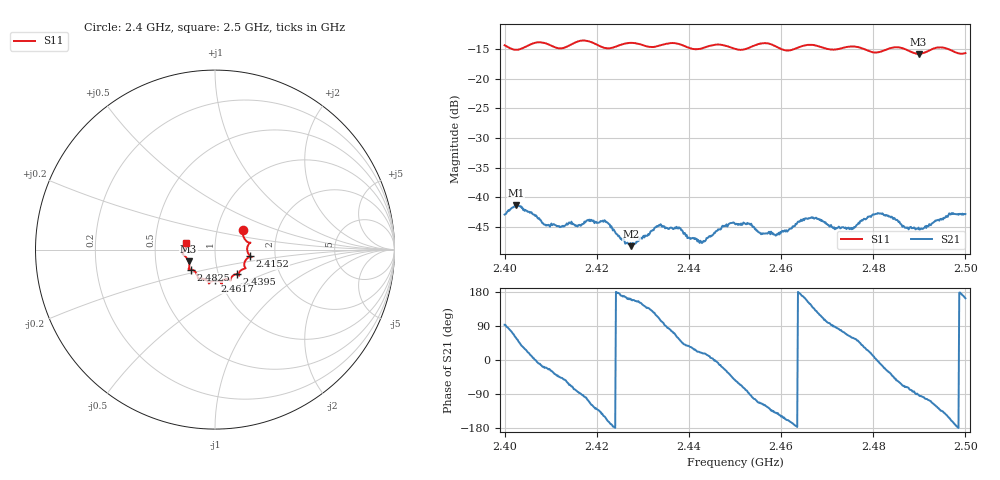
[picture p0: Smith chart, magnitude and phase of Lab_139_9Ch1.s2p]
# Hz S RI R 50
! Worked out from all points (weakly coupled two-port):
!   601 points, 2.4 GHz to 2.5 GHz, reference 50 ohm
!   highest |S21| = -41.30 dB at 2.4025 GHz (marker M1); lowest = -48.2 dB at 2.4275 GHz (marker M2)
!   lowest |S11| = -15.9 dB at 2.4898 GHz (marker M3), VSWR 1.38, Z = 36.9 - j4.91 ohm
!   |S11| at or under -10 dB: start of sweep to end of sweep
!   S12 and S22 are empty: the file has one direction only
!   S11 on the Smith chart (normalised r, x): 2.4 GHz: 1.33, +0.30; 2.4152 GHz: 1.48, -0.11; 2.4395 GHz: 1.22, -0.35; 2.4617 GHz: 0.94, -0.33; 2.4825 GHz: 0.75, -0.17; 2.5 GHz: 0.72, +0.05
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2.4e9  0.1555 0.1095  -0.000366 0.00718  0 0  0 0
2.4025e9  0.1601 0.0688  0.00454 0.00731  0 0  0 0
2.408833e9  0.1946 0.0373  0.00557 -0.00199  0 0  0 0
2.412167e9  0.179 0.000718  0.00389 -0.0041  0 0  0 0
2.415167e9  0.196 -0.0367  0.0013 -0.00574  0 0  0 0
2.416667e9  0.2039 -0.0421  -4.19e-05 -0.00585  0 0  0 0
2.421833e9  0.17 -0.0602  -0.00557 -0.00309  0 0  0 0
2.4275e9  0.1702 -0.1037  -0.00366 0.00133  0 0  0 0
2.433333e9  0.1328 -0.1326  -0.00223 0.00532  0 0  0 0
2.437833e9  0.133 -0.1426  0.0032 0.00462  0 0  0 0
2.4395e9  0.1227 -0.1376  0.00379 0.00302  0 0  0 0
2.443167e9  0.0901 -0.1569  0.00413 0.00128  0 0  0 0
2.45e9  0.067 -0.1644  0.00362 -0.00477  0 0  0 0
2.456e9  0.038 -0.1941  -0.00225 -0.0044  0 0  0 0
2.461667e9  0.000755 -0.172  -0.00505 -0.00182  0 0  0 0
2.466667e9  -0.034 -0.1889  -0.00533 0.00427  0 0  0 0
2.475167e9  -0.0923 -0.1613  0.00273 0.00484  0 0  0 0
2.4825e9  -0.1325 -0.1109  0.00659 -0.00261  0 0  0 0
2.483333e9  -0.1397 -0.1101  0.00586 -0.00367  0 0  0 0
2.489833e9  -0.1474 -0.0648  -0.000164 -0.00558  0 0  0 0
2.4945e9  -0.1812 -0.0224  -0.00434 -0.00494  0 0  0 0
2.5e9  -0.1595 0.0352  -0.00693 0.00213  0 0  0 0
